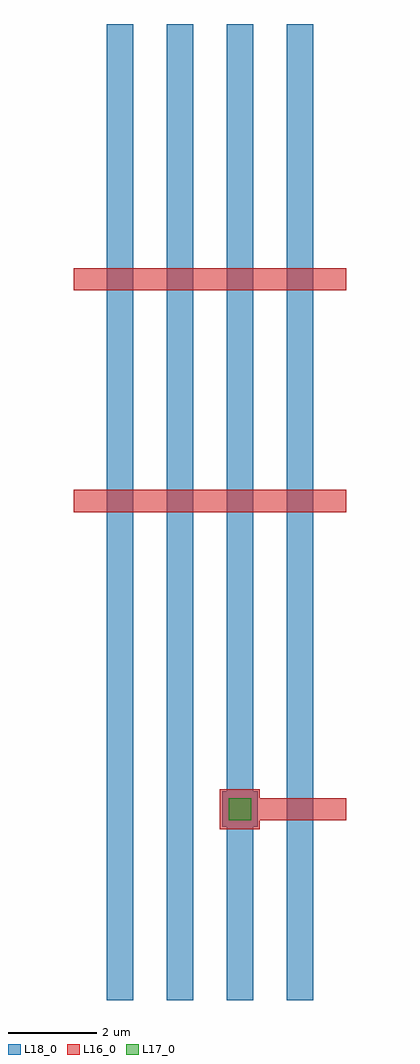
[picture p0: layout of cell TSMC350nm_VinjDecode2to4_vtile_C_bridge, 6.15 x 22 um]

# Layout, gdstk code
import gdstk
lib = gdstk.Library(unit=1e-6, precision=1e-09)
def R(c, l, rs):  # rectangles x0, y0, x1, y1
    for r in rs: c.add(gdstk.rectangle(r[:2], r[2:], *l))
L16_0 = (16, 0)
L17_0 = (17, 0)
L18_0 = (18, 0)

m2_m1_cdns_726444510170 = lib.new_cell('M2_M1_CDNS_726444510170')
R(m2_m1_cdns_726444510170, L16_0, [(-0.45,-0.45,0.45,0.45)])
R(m2_m1_cdns_726444510170, L17_0, [(-0.25,-0.25,0.25,0.25)])
R(m2_m1_cdns_726444510170, L18_0, [(-0.4,-0.4,0.4,0.4)])

tsmc350nm_vinjdecode2to4 = lib.new_cell('TSMC350nm_VinjDecode2to4_vtile_C_bridge')
tsmc350nm_vinjdecode2to4.add(gdstk.FlexPath([(0,16.25),(6.15,16.25)], 0.5, ends="flush", simple_path=True, layer=16, datatype=0))  # L16_0
tsmc350nm_vinjdecode2to4.add(gdstk.FlexPath([(0,11.25),(6.15,11.25)], 0.5, ends="flush", simple_path=True, layer=16, datatype=0))  # L16_0
tsmc350nm_vinjdecode2to4.add(gdstk.FlexPath([(6.15,4.3),(3.75,4.3)], 0.5, ends="flush", simple_path=True, layer=16, datatype=0))  # L16_0
tsmc350nm_vinjdecode2to4.add(gdstk.FlexPath([(5.1,0),(5.1,22)], 0.6, ends="flush", simple_path=True, layer=18, datatype=0))  # L18_0
tsmc350nm_vinjdecode2to4.add(gdstk.FlexPath([(3.75,0),(3.75,22)], 0.6, ends="flush", simple_path=True, layer=18, datatype=0))  # L18_0
tsmc350nm_vinjdecode2to4.add(gdstk.FlexPath([(2.4,0),(2.4,22)], 0.6, ends="flush", simple_path=True, layer=18, datatype=0))  # L18_0
tsmc350nm_vinjdecode2to4.add(gdstk.FlexPath([(1.05,0),(1.05,2.85)], 0.6, ends="flush", simple_path=True, layer=18, datatype=0))  # L18_0
tsmc350nm_vinjdecode2to4.add(gdstk.FlexPath([(1.05,2.85),(1.05,22)], 0.6, ends="flush", simple_path=True, layer=18, datatype=0))  # L18_0
tsmc350nm_vinjdecode2to4.add(gdstk.Reference(m2_m1_cdns_726444510170, (3.75,4.3)))

lib.write_gds('TSMC350nm_VinjDecode2to4_vtile_C_bridge.gds')
